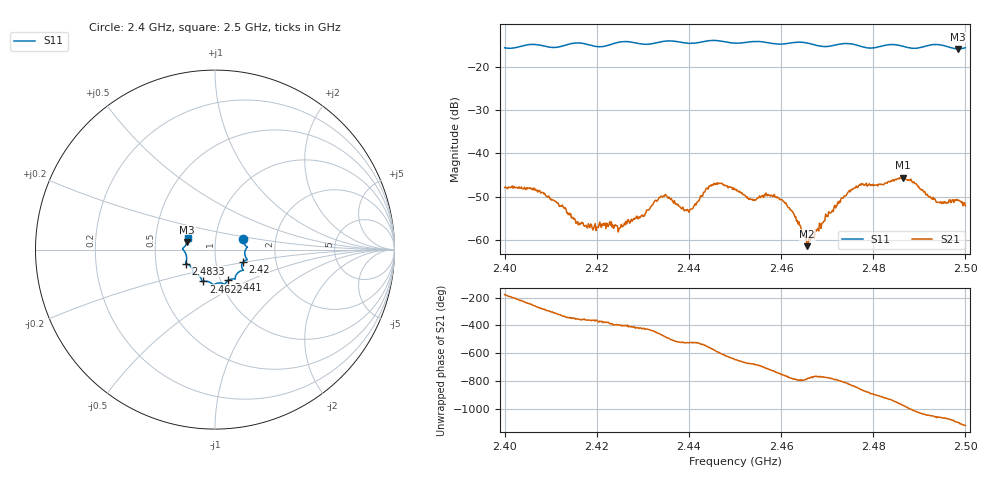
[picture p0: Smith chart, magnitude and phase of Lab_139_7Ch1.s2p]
# Hz S RI R 50
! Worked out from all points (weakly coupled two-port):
!   601 points, 2.4 GHz to 2.5 GHz, reference 50 ohm
!   highest |S21| = -45.58 dB at 2.4865 GHz (marker M1); lowest = -61.4 dB at 2.4657 GHz (marker M2)
!   lowest |S11| = -15.9 dB at 2.4983 GHz (marker M3), VSWR 1.38, Z = 36.4 + j3.1 ohm
!   |S11| at or under -10 dB: start of sweep to end of sweep
!   S12 and S22 are empty: the file has one direction only
!   S11 on the Smith chart (normalised r, x): 2.4 GHz: 1.35, +0.16; 2.42 GHz: 1.35, -0.20; 2.441 GHz: 1.09, -0.39; 2.4622 GHz: 0.83, -0.30; 2.4833 GHz: 0.71, -0.12; 2.5 GHz: 0.73, +0.10
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2.4e9  0.1542 0.0593  -0.00404 -0.00019  0 0  0 0
2.407833e9  0.1766 0.00947  0.000318 0.00347  0 0  0 0
2.416667e9  0.1783 -0.0569  0.0016 8.56e-05  0 0  0 0
2.42e9  0.1554 -0.0712  0.0014 -9.96e-05  0 0  0 0
2.425167e9  0.1568 -0.1132  0.00113 -0.000826  0 0  0 0
2.433333e9  0.113 -0.1539  -0.000298 -0.00293  0 0  0 0
2.435333e9  0.112 -0.1638  -0.00205 -0.0024  0 0  0 0
2.4395e9  0.0898 -0.1642  -0.0021 -0.000614  0 0  0 0
2.441e9  0.0752 -0.1708  -0.00232 -0.000641  0 0  0 0
2.445e9  0.0554 -0.1933  -0.00382 0.00209  0 0  0 0
2.45e9  0.0251 -0.1856  0.00105 0.0037  0 0  0 0
2.4535e9  -0.00356 -0.1943  0.0021 0.00208  0 0  0 0
2.459e9  -0.0339 -0.1797  0.00294 -0.000901  0 0  0 0
2.462167e9  -0.0645 -0.1772  0.00111 -0.00192  0 0  0 0
2.465667e9  -0.0741 -0.1726  0.000369 -0.000766  0 0  0 0
2.466667e9  -0.0755 -0.166  0.000687 -0.00082  0 0  0 0
2.475e9  -0.1247 -0.1357  -0.00102 -0.00345  0 0  0 0
2.483333e9  -0.1616 -0.0784  -0.00408 0.00243  0 0  0 0
2.4865e9  -0.1599 -0.0636  -0.00131 0.00509  0 0  0 0
2.494e9  -0.1803 0.00537  0.00256 0.000926  0 0  0 0
2.498333e9  -0.1553 0.0414  0.00276 -0.000793  0 0  0 0
2.5e9  -0.1526 0.0651  0.0019 -0.00159  0 0  0 0
